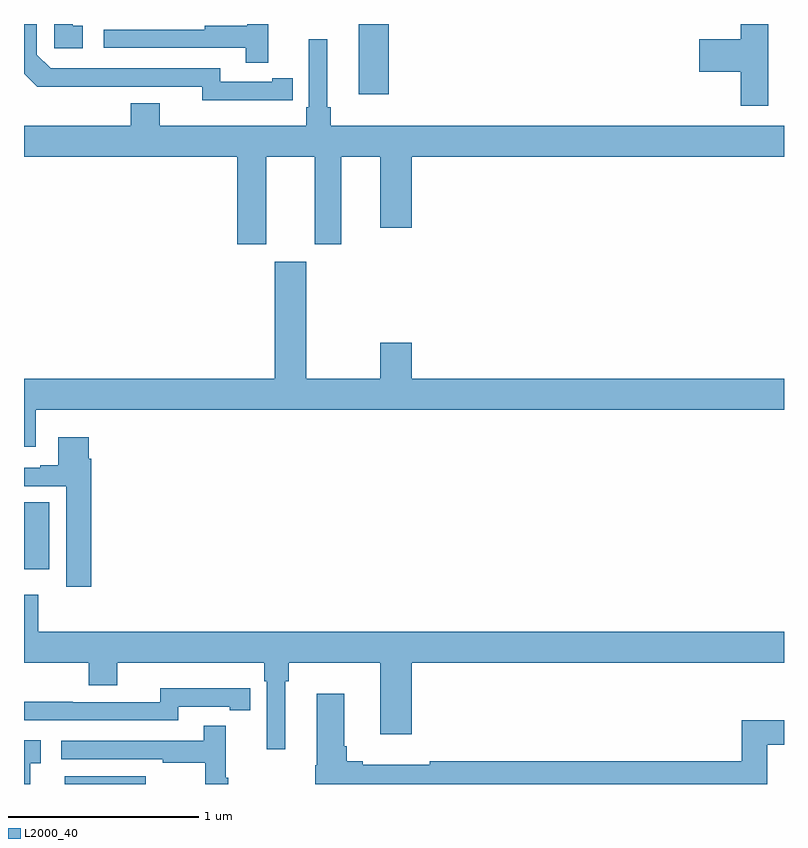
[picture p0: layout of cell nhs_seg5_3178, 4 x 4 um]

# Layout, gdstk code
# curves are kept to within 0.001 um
import gdstk
lib = gdstk.Library(unit=1e-6, precision=1e-09)
def R(c, l, rs):  # rectangles x0, y0, x1, y1
    for r in rs: c.add(gdstk.rectangle(r[:2], r[2:], *l))
def P(c, l, *ps):  # polygons
    for p in ps: c.add(gdstk.Polygon(p, *l))
L2000_40 = (2000, 40)

nhs_seg5_3178 = lib.new_cell('nhs_seg5_3178')
R(nhs_seg5_3178, L2000_40, [(295.214,846.799,295.642,846.841), (295,847.929,295.132,848.282), (296.762,850.428,296.921,850.799)])
P(nhs_seg5_3178, L2000_40, [(298.918,850.799),(298.772,850.799),(298.772,850.718),(298.554,850.718),(298.554,850.547),(298.772,850.547),(298.772,850.368),(298.918,850.368)],
  [(296.285,850.799),(296.175,850.799),(296.175,850.79),(295.951,850.79),(295.951,850.77),(295.419,850.77),(295.419,850.674),(296.167,850.674),(296.167,850.596),(296.285,850.596)],
  [(295.309,850.791),(295.256,850.791),(295.256,850.799),(295.158,850.799),(295.158,850.671),(295.309,850.671)],
  [(296.306,850.398),(296.414,850.398),(296.414,850.514),(296.306,850.514),(296.306,850.494),(296.034,850.494),(296.034,850.566),(295.14,850.566),(295.068,850.638),(295.068,850.799),(295,850.799),(295,850.538),(295.07,850.469),(295.938,850.47),(295.938,850.397)],
  [(296.275,850.1),(296.531,850.1),(296.531,849.639),(296.671,849.639),(296.671,850.1),(296.876,850.1),(296.876,849.726),(297.04,849.726),(297.04,850.1),(299,850.1),(299,850.264),(296.615,850.264),(296.615,850.36),(296.596,850.36),(296.596,850.72),(296.499,850.72),(296.499,850.36),(296.486,850.36),(296.486,850.264),(295.714,850.264),(295.714,850.381),(295.562,850.381),(295.562,850.264),(295,850.264),(295,850.1),(296.123,850.1),(296.123,849.639),(296.275,849.639)],
  [(295.063,848.768),(299,848.768),(299,848.932),(297.04,848.932),(297.04,849.121),(296.876,849.121),(296.876,848.932),(296.485,848.932),(296.485,849.547),(296.321,849.547),(296.321,848.932),(295,848.932),(295,848.574),(295.063,848.574)],
  [(295.355,848.51),(295.342,848.51),(295.342,848.623),(295.181,848.623),(295.181,848.476),(295.085,848.476),(295.085,848.463),(295,848.463),(295,848.367),(295.223,848.367),(295.223,847.836),(295.355,847.836)],
  [(296.374,847.34),(296.393,847.34),(296.393,847.436),(296.876,847.436),(296.876,847.062),(297.04,847.062),(297.04,847.436),(299,847.436),(299,847.6),(295.076,847.6),(295.076,847.795),(295,847.795),(295,847.436),(295.34,847.436),(295.34,847.319),(295.492,847.319),(295.492,847.436),(296.264,847.436),(296.264,847.34),(296.277,847.34),(296.277,846.981),(296.374,846.981)],
  [(295.812,847.206),(296.084,847.206),(296.084,847.186),(296.192,847.186),(296.192,847.302),(296.084,847.302),(296.084,847.303),(295.716,847.303),(295.716,847.23),(295.256,847.23),(295.256,847.232),(295,847.232),(295,847.134),(295.812,847.134)],
  [(298.913,847.006),(299,847.006),(299,847.135),(298.777,847.135),(298.777,846.92),(297.136,846.92),(297.136,846.901),(296.782,846.901),(296.782,846.92),(296.699,846.92),(296.699,846.997),(296.686,846.997),(296.686,847.273),(296.54,847.273),(296.54,846.897),(296.533,846.897),(296.533,846.799),(298.913,846.799)],
  [(296.074,846.833),(296.063,846.833),(296.063,847.105),(295.945,847.105),(295.945,847.026),(295.197,847.026),(295.197,846.93),(295.729,846.93),(295.729,846.91),(295.953,846.91),(295.953,846.799),(296.074,846.799)],
  [(295.034,846.909),(295.087,846.909),(295.087,847.03),(295,847.03),(295,846.799),(295.034,846.799)])

lib.write_gds('nhs_seg5_3178.gds')
